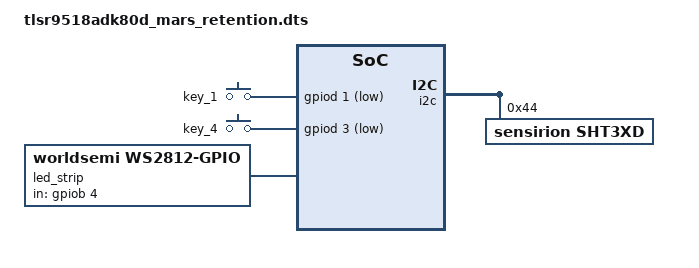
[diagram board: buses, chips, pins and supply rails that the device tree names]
/*
 * Copyright (c) 2023 Telink Semiconductor
 *
 * SPDX-License-Identifier: Apache-2.0
 */

/dts-v1/;
#include "tlsr9518adk80d-common.dtsi"
#include <zephyr/dt-bindings/gpio/gpio.h>
#include <zephyr/dt-bindings/led/led.h>

/ {
	soc {

		/delete-node/ memory@0;

		ram_ilm_retention: memory@0 {
			compatible = "mmio-sram";
		};

		ram_ilm_nonretention: memory@10000 {
			ompatible = "mmio-sram";
		};
	};

	chosen {
		zephyr,sram = &ram_ilm_retention;
	};

	cpus {
		cpu0: cpu@0 {
			cpu-power-states = <&state0 &state1>;
		};
	};

	power-states {
		state1: state1 {
			compatible = "zephyr,power-state";
			power-state-name = "standby";
			min-residency-us = <100000>;
			exit-latency-us = <7000>;
		};
	};

	aliases {
		led-strip = &led_strip;
		// system-state-led = &led_red;
	};

	keys {
		/delete-node/ button_1;
		/delete-node/ button_4;
		/delete-node/ key_matrix_col1;
		/delete-node/ key_matrix_col2;
		/delete-node/ key_matrix_row1;
		/delete-node/ key_matrix_row2;
		/delete-node/ key_dfu;
		compatible = "gpio-keys";

		key_1: button_1 {
			gpios = <&gpiod 1 (GPIO_PULL_UP | GPIO_ACTIVE_LOW)>;
		};
		key_4: button_4 {
			gpios = <&gpiod 3 (GPIO_PULL_UP | GPIO_ACTIVE_LOW)>;
		};
	};

	led_strip: ws2812 {
		compatible = "worldsemi,ws2812-gpio";

		chain-length = <1>; /* arbitrary; change at will */
		color-mapping = <LED_COLOR_ID_GREEN
				 LED_COLOR_ID_RED
				 LED_COLOR_ID_BLUE>;
		in-gpios = <&gpiob 4 0>;
	};
};

&gpioc {
	interrupts = <38 1>;
};

&gpiod {
	interrupts = <37 1>;
	status = "okay";
};

&pinctrl {
	/* Define I2C pins: SCL(PE0), SDA(PC2) */
	i2c_scl_pe0_default: i2c_scl_pe0_default {
		pinmux = <B9x_PINMUX_SET(B9x_PORT_E, B9x_PIN_0, B91_FUNC_A)>;
	};
	i2c_sda_pc2_default: i2c_sda_pc2_default {
		pinmux = <B9x_PINMUX_SET(B9x_PORT_C, B9x_PIN_2, B91_FUNC_A)>;
	};

	/* PWMs */
	pwm_ch0_pe3_default: pwm_ch0_pe3_default {
		pinmux = <B9x_PINMUX_SET(B9x_PORT_E, B9x_PIN_3, B91_FUNC_C)>;
	};
	pwm_ch1_pb5_default: pwm_ch1_pb5_default {
		pinmux = <B9x_PINMUX_SET(B9x_PORT_B, B9x_PIN_5, B91_FUNC_C)>;
	};
	pwm_ch2_pe2_default: pwm_ch2_pe2_default {
		pinmux = <B9x_PINMUX_SET(B9x_PORT_E, B9x_PIN_2, B91_FUNC_C)>;
	};
	pwm_ch3_pe0_default: pwm_ch3_pe0_default {
		pinmux = <B9x_PINMUX_SET(B9x_PORT_E, B9x_PIN_0, B91_FUNC_C)>;
	};
	pwm_ch4_pe4_default: pwm_ch4_pe4_default {
		pinmux = <B9x_PINMUX_SET(B9x_PORT_E, B9x_PIN_4, B91_FUNC_C)>;
	};
};

&i2c {
	pinctrl-0 = <&i2c_scl_pe0_default &i2c_sda_pc2_default>;

	sht3xd@44 {
		compatible = "sensirion,sht3xd";
		reg = <0x44>;
	};
};

&pwm0 {
	pinctrl-0 = <&pwm_ch0_pe3_default
				 &pwm_ch1_pb5_default
				 &pwm_ch2_pe2_default
				 &pwm_ch4_pe4_default>;
};

&ram_ilm_retention {
	reg = <0x00000000 0x00010000>;
};

&ram_ilm_nonretention {
	reg = <0x00010000 0x00010000>;
};
